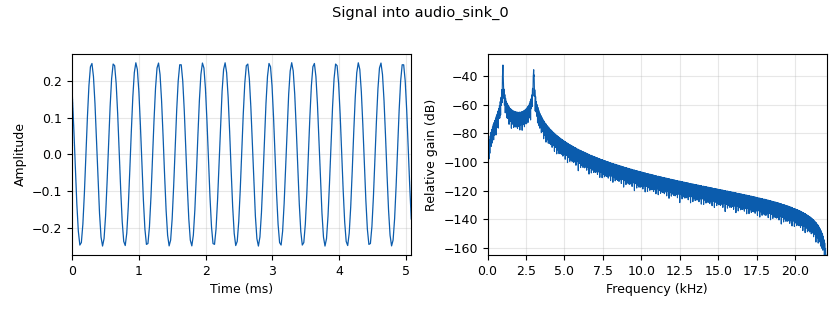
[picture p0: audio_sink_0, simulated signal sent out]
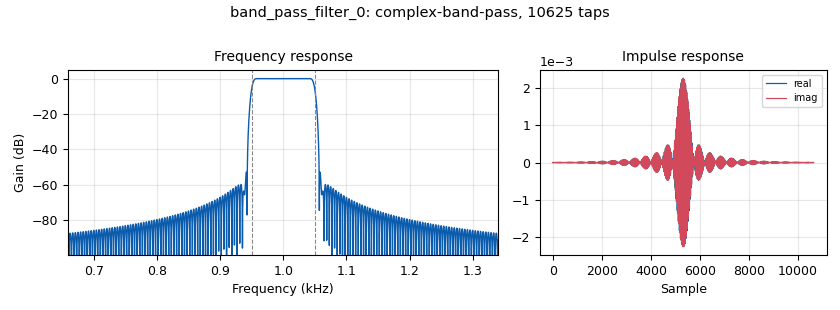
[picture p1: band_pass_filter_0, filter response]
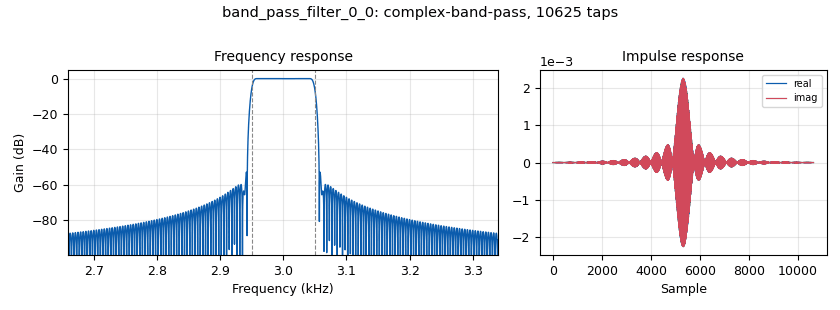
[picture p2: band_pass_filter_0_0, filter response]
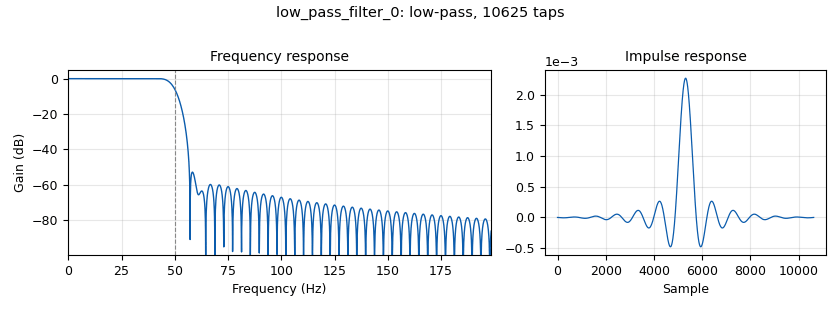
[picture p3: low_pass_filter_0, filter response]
options:
  parameters:
    author: Barry Duggan
    comment: 'Source: https://github.com/duggabe/gr-control/blob/main/Transmitters/pkt_fsk_xmt_rcv.grc'
    description: packet FSK xmt rcv v1
    generate_options: qt_gui
    id: pkt_fsk_xmt_rcv_v1
    output_language: python
    title: pkt_fsk_xmt_rcv_v1
  states: {}

blocks:
- name: baud
  id: variable
  parameters:
    value: '100'
  states: {}
- name: baud_rate_slider
  id: variable_qtgui_range
  parameters:
    rangeType: int
    start: '10'
    step: '1'
    stop: '4000'
    value: '50'
  states: {}
- name: bpf_half_width_Hz
  id: variable_qtgui_range
  parameters:
    rangeType: int
    start: '10'
    step: '1'
    stop: '200'
    value: '50'
  states: {}
- name: center
  id: variable
  parameters:
    value: (mark+space)/2
  states: {}
- name: decim
  id: variable
  parameters:
    value: '20'
  states: {}
- name: fsk_deviation
  id: variable
  parameters:
    value: (abs)(mark-space)
  states: {}
- name: inp_amp
  id: variable
  parameters:
    value: (mark/vco_max)-vco_offset
  states: {}
- name: lpf_cutoff_Hz
  id: variable_qtgui_range
  parameters:
    rangeType: int
    start: '1'
    step: '1'
    stop: '200'
    value: '50'
  states: {}
- name: mark
  id: variable
  parameters:
    value: '1000'
  states: {}
- name: phase_bw
  id: variable
  parameters:
    value: math.pi/32
  states: {}
- name: repeat
  id: variable
  parameters:
    value: (int)(samp_rate/baud_rate_slider)
  states: {}
- name: samp_rate
  id: variable
  parameters:
    comment: |-
      |----------------------------------------------------------------------------------------->
      User set values
    value: '44100'
  states: {}
- name: space
  id: variable
  parameters:
    value: '3000'
  states: {}
- name: sps
  id: variable
  parameters:
    value: (int)(repeat/decim)
  states: {}
- name: thresh
  id: variable
  parameters:
    value: '1'
  states: {}
- name: vco_max
  id: variable
  parameters:
    value: center+fsk_deviation
  states: {}
- name: vco_offset
  id: variable
  parameters:
    value: space/vco_max
  states: {}
- name: analog_random_uniform_source_x_0
  id: analog_random_uniform_source_x
  parameters:
    maximum: '255'
    minimum: '0'
    seed: '0'
    type: byte
  states: {}
- name: audio_sink_0
  id: audio_sink
  parameters:
    samp_rate: samp_rate
  states: {}
- name: audio_source_0
  id: audio_source
  parameters:
    samp_rate: samp_rate
  states: {}
- name: band_pass_filter_0
  id: band_pass_filter
  parameters:
    decim: '1'
    gain: '1'
    high_cutoff_freq: mark+bpf_half_width_Hz
    low_cutoff_freq: mark-bpf_half_width_Hz
    samp_rate: samp_rate
    type: fir_filter_fcc
    width: '10'
    win: window.WIN_HAMMING
  states: {}
- name: band_pass_filter_0_0
  id: band_pass_filter
  parameters:
    decim: '1'
    gain: '1'
    high_cutoff_freq: space+bpf_half_width_Hz
    low_cutoff_freq: space-bpf_half_width_Hz
    samp_rate: samp_rate
    type: fir_filter_fcc
    width: '10'
    win: window.WIN_HAMMING
  states: {}
- name: blocks_add_const_vxx_0
  id: blocks_add_const_vxx
  parameters:
    comment: vco_offset
    const: vco_offset
    type: float
  states: {}
- name: blocks_complex_to_mag_0
  id: blocks_complex_to_mag
  parameters: {}
  states: {}
- name: blocks_complex_to_mag_0_0
  id: blocks_complex_to_mag
  parameters: {}
  states: {}
- name: blocks_multiply_const_vxx_0
  id: blocks_multiply_const_vxx
  parameters:
    comment: inp_amp
    const: inp_amp
    type: float
  states: {}
- name: blocks_null_sink_0
  id: blocks_null_sink
  parameters:
    type: byte
  states: {}
- name: blocks_repack_bits_bb_1_0
  id: blocks_repack_bits_bb
  parameters:
    endianness: gr.GR_MSB_FIRST
    k: '8'
    l: '1'
    len_tag_key: ''
  states: {}
- name: blocks_repack_bits_bb_1_0_0
  id: blocks_repack_bits_bb
  parameters:
    endianness: gr.GR_MSB_FIRST
    k: '8'
    l: '1'
    len_tag_key: ''
  states: {}
- name: blocks_repeat_0
  id: blocks_repeat
  parameters:
    interp: repeat*2
    type: byte
  states: {}
- name: blocks_repeat_0_0
  id: blocks_repeat
  parameters:
    interp: repeat
    type: byte
  states: {}
- name: blocks_sub_xx_0
  id: blocks_sub_xx
  parameters:
    type: float
  states: {}
- name: blocks_uchar_to_float_0
  id: blocks_uchar_to_float
  parameters: {}
  states: {}
- name: blocks_vco_f_0
  id: blocks_vco_f
  parameters:
    amplitude: '0.25'
    samp_rate: samp_rate
    sensitivity: 2*math.pi*vco_max
  states: {}
- name: blocks_vector_source_x_0
  id: blocks_vector_source_x
  parameters:
    repeat: 'True'
    type: byte
    vector: (0x55, 0x55, 0x55)
  states: {}
- name: blocks_xor_xx_0
  id: blocks_xor_xx
  parameters:
    type: byte
  states: {}
- name: digital_binary_slicer_fb_0
  id: digital_binary_slicer_fb
  parameters: {}
  states: {}
- name: import_0
  id: import
  parameters:
    imports: import math
  states: {}
- name: low_pass_filter_0
  id: low_pass_filter
  parameters:
    cutoff_freq: lpf_cutoff_Hz
    decim: '100'
    gain: '1'
    samp_rate: samp_rate
    type: fir_filter_fff
    width: '10'
    win: window.WIN_HAMMING
  states: {}
- name: low_pass_filter_0_0
  id: low_pass_filter
  parameters:
    cutoff_freq: lpf_cutoff_Hz
    decim: '100'
    gain: '1'
    samp_rate: samp_rate
    type: fir_filter_fff
    width: '10'
    win: window.WIN_HAMMING
  states: {}
- name: note_0
  id: note
  parameters:
    comment: |-
      |----------------------------------------------------------------------------------------------------------------------------------------------------------|
      Calculated values:
      -   center freq = (mark+space)/2
      -   repeat = (int)(samp_rate/baud)
      -   fsk_deviation = (abs)(mark-space)
      -   vco_max = center+fsk_deviation
      -   vco_offset = space/vco_max
      -   inp_amp = (mark/vco_max)-vco_offset
      -   vco sensitivity = 2*math.pi*vco_max
  states: {}
- name: note_0_0
  id: note
  parameters:
    comment: |-
      |----------------------------------------------------------------------------------------->
      Calculated values:
      -   sps = (int)(repeat/decim)
      -  decim = 
      -   Quad Demod Gain = samp_rate/(2*math.pi*fsk_deviation)
  states: {}
- name: qtgui_freq_sink_x_0
  id: qtgui_freq_sink_x
  parameters:
    average: '0.05'
    bw: samp_rate
    color1: '"green"'
    ctrlpanel: 'True'
    fc: '0'
    fftsize: 1024*32
    label1: TX
    label2: RX
    nconnections: '2'
    type: complex
    wintype: window.WIN_FLATTOP
    ymax: '-10'
    ymin: '-90'
  states: {}
- name: qtgui_time_sink_x_0
  id: qtgui_time_sink_x
  parameters:
    nconnections: '2'
    size: '1024'
    srate: samp_rate
    type: float
  states: {}
- name: virtual_sink_0
  id: virtual_sink
  parameters:
    stream_id: t2
  states: {}
- name: virtual_sink_0_0
  id: virtual_sink
  parameters:
    stream_id: t1
  states: {}
- name: virtual_source_0
  id: virtual_source
  parameters:
    stream_id: t2
  states: {}
- name: virtual_source_0_0
  id: virtual_source
  parameters:
    stream_id: t1
  states: {}

connections:
- [analog_random_uniform_source_x_0, '0', virtual_sink_0_0, '0']
- [audio_source_0, '0', band_pass_filter_0, '0']
- [audio_source_0, '0', band_pass_filter_0_0, '0']
- [band_pass_filter_0, '0', blocks_complex_to_mag_0, '0']
- [band_pass_filter_0, '0', qtgui_freq_sink_x_0, '0']
- [band_pass_filter_0_0, '0', blocks_complex_to_mag_0_0, '0']
- [band_pass_filter_0_0, '0', qtgui_freq_sink_x_0, '1']
- [blocks_add_const_vxx_0, '0', blocks_vco_f_0, '0']
- [blocks_complex_to_mag_0, '0', low_pass_filter_0, '0']
- [blocks_complex_to_mag_0_0, '0', low_pass_filter_0_0, '0']
- [blocks_multiply_const_vxx_0, '0', blocks_add_const_vxx_0, '0']
- [blocks_repack_bits_bb_1_0, '0', blocks_repeat_0, '0']
- [blocks_repack_bits_bb_1_0_0, '0', blocks_repeat_0_0, '0']
- [blocks_repeat_0, '0', blocks_xor_xx_0, '0']
- [blocks_repeat_0_0, '0', blocks_xor_xx_0, '1']
- [blocks_sub_xx_0, '0', digital_binary_slicer_fb_0, '0']
- [blocks_uchar_to_float_0, '0', virtual_sink_0, '0']
- [blocks_vco_f_0, '0', audio_sink_0, '0']
- [blocks_vector_source_x_0, '0', blocks_repack_bits_bb_1_0_0, '0']
- [blocks_xor_xx_0, '0', blocks_uchar_to_float_0, '0']
- [digital_binary_slicer_fb_0, '0', blocks_null_sink_0, '0']
- [low_pass_filter_0, '0', blocks_sub_xx_0, '0']
- [low_pass_filter_0, '0', qtgui_time_sink_x_0, '0']
- [low_pass_filter_0_0, '0', blocks_sub_xx_0, '1']
- [low_pass_filter_0_0, '0', qtgui_time_sink_x_0, '1']
- [virtual_source_0, '0', blocks_multiply_const_vxx_0, '0']
- [virtual_source_0_0, '0', blocks_repack_bits_bb_1_0, '0']

metadata:
  file_format: 1
  grc_version: 3.10.9.2
